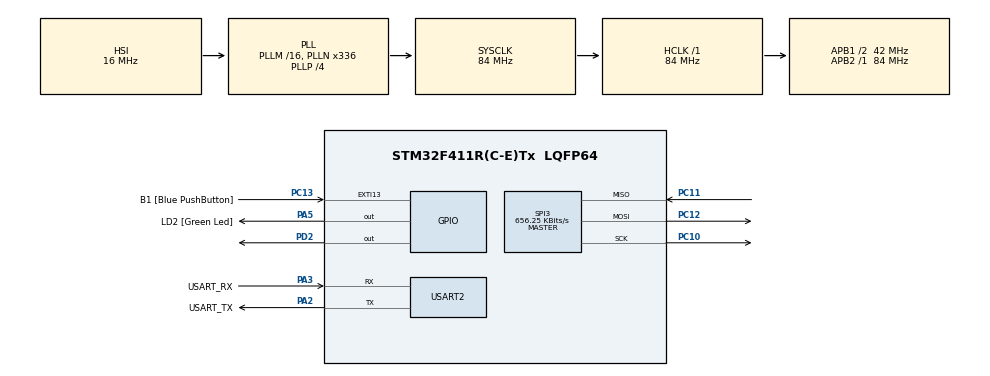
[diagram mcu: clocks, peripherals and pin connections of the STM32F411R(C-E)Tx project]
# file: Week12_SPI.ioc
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Mcu.Family=STM32F4
Mcu.Name=STM32F411R(C-E)Tx
Mcu.Package=LQFP64
NVIC.PriorityGroup=NVIC_PRIORITYGROUP_0
NVIC.SPI3_IRQn=true\:0\:0\:false\:false\:true\:true\:true\:true
PA13.GPIO_Label=TMS
PA13.Mode=Serial_Wire
PA13.Signal=SYS_JTMS-SWDIO
PA14.GPIO_Label=TCK
PA14.Mode=Serial_Wire
PA14.Signal=SYS_JTCK-SWCLK
PA2.GPIO_Label=USART_TX
PA2.Mode=Asynchronous
PA2.Signal=USART2_TX
PA3.GPIO_Label=USART_RX
PA3.Mode=Asynchronous
PA3.Signal=USART2_RX
PA5.GPIO_Label=LD2 [Green Led]
PA5.Signal=GPIO_Output
PB3.GPIO_Label=SWO
PB3.Signal=SYS_JTDO-SWO
PC10.Mode=Full_Duplex_Master
PC10.Signal=SPI3_SCK
PC11.Mode=Full_Duplex_Master
PC11.Signal=SPI3_MISO
PC12.Mode=Full_Duplex_Master
PC12.Signal=SPI3_MOSI
PC13-ANTI_TAMP.GPIO_Label=B1 [Blue PushButton]
PC13-ANTI_TAMP.GPIO_ModeDefaultEXTI=GPIO_MODE_IT_FALLING
PC13-ANTI_TAMP.Signal=GPXTI13
PC14-OSC32_IN.Mode=LSE-External-Oscillator
PC14-OSC32_IN.Signal=RCC_OSC32_IN
PC15-OSC32_OUT.Mode=LSE-External-Oscillator
PC15-OSC32_OUT.Signal=RCC_OSC32_OUT
PD2.PinState=GPIO_PIN_SET
PD2.Signal=GPIO_Output
PH0\ -\ OSC_IN.Mode=HSE-External-Clock-Source
PH0\ -\ OSC_IN.Signal=RCC_OSC_IN
PH1\ -\ OSC_OUT.Mode=HSE-External-Clock-Source
PH1\ -\ OSC_OUT.Signal=RCC_OSC_OUT
ProjectManager.HeapSize=0x200
ProjectManager.StackSize=0x400
ProjectManager.TargetToolchain=STM32CubeIDE
RCC.48MHZClocksFreq_Value=84000000
RCC.AHBFreq_Value=84000000
RCC.APB1CLKDivider=RCC_HCLK_DIV2
RCC.APB1Freq_Value=42000000
RCC.APB1TimFreq_Value=84000000
RCC.APB2Freq_Value=84000000
RCC.APB2TimFreq_Value=84000000
RCC.CortexFreq_Value=84000000
RCC.FLatency-AdvancedSettings=FLASH_LATENCY_2
RCC.HCLKFreq_Value=84000000
RCC.HSE_VALUE=8000000
RCC.HSI_VALUE=16000000
RCC.PLLN=336
RCC.PLLP=RCC_PLLP_DIV4
RCC.SYSCLKFreq_VALUE=84000000
RCC.SYSCLKSource=RCC_SYSCLKSOURCE_PLLCLK
RCC.VCOOutputFreq_Value=336000000
SPI3.BaudRatePrescaler=SPI_BAUDRATEPRESCALER_64
SPI3.CLKPhase=SPI_PHASE_2EDGE
SPI3.CLKPolarity=SPI_POLARITY_HIGH
SPI3.CalculateBaudRate=656.25 KBits/s
SPI3.Direction=SPI_DIRECTION_2LINES
SPI3.Mode=SPI_MODE_MASTER
SPI3.VirtualType=VM_MASTER
USART2.VirtualMode=VM_ASYNC
board=NUCLEO-F411RE

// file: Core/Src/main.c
/* USER CODE BEGIN Header */
/**
  ******************************************************************************
  * @file           : main.c
  * @brief          : Main program body
  ******************************************************************************
  * @attention
  *
  * Copyright (c) 2023 STMicroelectronics.
  * All rights reserved.
  *
  * This software is licensed under terms that can be found in the LICENSE file
  * in the root directory of this software component.
  * If no LICENSE file comes with this software, it is provided AS-IS.
  *
  ******************************************************************************
  */
/* USER CODE END Header */
#include "main.h"

SPI_HandleTypeDef hspi3;

UART_HandleTypeDef huart2;

/* USER CODE BEGIN PV */
uint8_t SPIRx[10];	//Recieve
uint8_t SPITx[10]; 	//Transmitte
/* USER CODE END PV */

void SystemClock_Config(void);
static void MX_GPIO_Init(void);
static void MX_USART2_UART_Init(void);
static void MX_SPI3_Init(void);
/* USER CODE BEGIN PFP */
void SPITxRx_Setup();
void SPITxRx_readIO(uint8_t addrs);
void SPITxRx_writeIO(uint8_t addrs, uint8_t data);
/* USER CODE END PFP */

int main(void)
{

  /* MCU Configuration--------------------------------------------------------*/

  /* Reset of all peripherals, Initializes the Flash interface and the Systick. */
  HAL_Init();

  /* Configure the system clock */
  SystemClock_Config();

  /* Initialize all configured peripherals */
  MX_GPIO_Init();
  MX_USART2_UART_Init();
  MX_SPI3_Init();
  /* USER CODE BEGIN 2 */
  SPITxRx_Setup();
  SPITxRx_writeIO(0x01, 0b00000000);
  SPITxRx_writeIO(0x15, 0b00000000);
  /* USER CODE END 2 */

  /* Infinite loop */
  while (1)
  {

    /* USER CODE BEGIN 3 */
	  //SPITxRx_readIO();

  }
  /* USER CODE END 3 */
}

void SystemClock_Config(void)
{
  RCC_OscInitTypeDef RCC_OscInitStruct = {0};
  RCC_ClkInitTypeDef RCC_ClkInitStruct = {0};

  /** Configure the main internal regulator output voltage
  */
  __HAL_RCC_PWR_CLK_ENABLE();
  __HAL_PWR_VOLTAGESCALING_CONFIG(PWR_REGULATOR_VOLTAGE_SCALE1);

  /** Initializes the RCC Oscillators according to the specified parameters
  * in the RCC_OscInitTypeDef structure.
  */
  RCC_OscInitStruct.OscillatorType = RCC_OSCILLATORTYPE_HSI;
  RCC_OscInitStruct.HSIState = RCC_HSI_ON;
  RCC_OscInitStruct.HSICalibrationValue = RCC_HSICALIBRATION_DEFAULT;
  RCC_OscInitStruct.PLL.PLLState = RCC_PLL_ON;
  RCC_OscInitStruct.PLL.PLLSource = RCC_PLLSOURCE_HSI;
  RCC_OscInitStruct.PLL.PLLM = 16;
  RCC_OscInitStruct.PLL.PLLN = 336;
  RCC_OscInitStruct.PLL.PLLP = RCC_PLLP_DIV4;
  RCC_OscInitStruct.PLL.PLLQ = 4;
  if (HAL_RCC_OscConfig(&RCC_OscInitStruct) != HAL_OK)
  {
    Error_Handler();
  }

  /** Initializes the CPU, AHB and APB buses clocks
  */
  RCC_ClkInitStruct.ClockType = RCC_CLOCKTYPE_HCLK|RCC_CLOCKTYPE_SYSCLK
                              |RCC_CLOCKTYPE_PCLK1|RCC_CLOCKTYPE_PCLK2;
  RCC_ClkInitStruct.SYSCLKSource = RCC_SYSCLKSOURCE_PLLCLK;
  RCC_ClkInitStruct.AHBCLKDivider = RCC_SYSCLK_DIV1;
  RCC_ClkInitStruct.APB1CLKDivider = RCC_HCLK_DIV2;
  RCC_ClkInitStruct.APB2CLKDivider = RCC_HCLK_DIV1;

  if (HAL_RCC_ClockConfig(&RCC_ClkInitStruct, FLASH_LATENCY_2) != HAL_OK)
  {
    Error_Handler();
  }
}

static void MX_SPI3_Init(void)
{

  /* SPI3 parameter configuration*/
  hspi3.Instance = SPI3;
  hspi3.Init.Mode = SPI_MODE_MASTER;
  hspi3.Init.Direction = SPI_DIRECTION_2LINES;
  hspi3.Init.DataSize = SPI_DATASIZE_8BIT;
  hspi3.Init.CLKPolarity = SPI_POLARITY_HIGH;
  hspi3.Init.CLKPhase = SPI_PHASE_2EDGE;
  hspi3.Init.NSS = SPI_NSS_SOFT;
  hspi3.Init.BaudRatePrescaler = SPI_BAUDRATEPRESCALER_64;
  hspi3.Init.FirstBit = SPI_FIRSTBIT_MSB;
  hspi3.Init.TIMode = SPI_TIMODE_DISABLE;
  hspi3.Init.CRCCalculation = SPI_CRCCALCULATION_DISABLE;
  hspi3.Init.CRCPolynomial = 10;
  if (HAL_SPI_Init(&hspi3) != HAL_OK)
  {
    Error_Handler();
  }

}

static void MX_USART2_UART_Init(void)
{

  huart2.Instance = USART2;
  huart2.Init.BaudRate = 115200;
  huart2.Init.WordLength = UART_WORDLENGTH_8B;
  huart2.Init.StopBits = UART_STOPBITS_1;
  huart2.Init.Parity = UART_PARITY_NONE;
  huart2.Init.Mode = UART_MODE_TX_RX;
  huart2.Init.HwFlowCtl = UART_HWCONTROL_NONE;
  huart2.Init.OverSampling = UART_OVERSAMPLING_16;
  if (HAL_UART_Init(&huart2) != HAL_OK)
  {
    Error_Handler();
  }

}

static void MX_GPIO_Init(void)
{
  GPIO_InitTypeDef GPIO_InitStruct = {0};

  /* GPIO Ports Clock Enable */
  __HAL_RCC_GPIOC_CLK_ENABLE();
  __HAL_RCC_GPIOH_CLK_ENABLE();
  __HAL_RCC_GPIOA_CLK_ENABLE();
  __HAL_RCC_GPIOD_CLK_ENABLE();
  __HAL_RCC_GPIOB_CLK_ENABLE();

  /*Configure GPIO pin Output Level */
  HAL_GPIO_WritePin(LD2_GPIO_Port, LD2_Pin, GPIO_PIN_RESET);

  /*Configure GPIO pin Output Level */
  HAL_GPIO_WritePin(GPIOD, GPIO_PIN_2, GPIO_PIN_SET);

  /*Configure GPIO pin : B1_Pin */
  GPIO_InitStruct.Pin = B1_Pin;
  GPIO_InitStruct.Mode = GPIO_MODE_IT_FALLING;
  GPIO_InitStruct.Pull = GPIO_NOPULL;
  HAL_GPIO_Init(B1_GPIO_Port, &GPIO_InitStruct);

  /*Configure GPIO pin : LD2_Pin */
  GPIO_InitStruct.Pin = LD2_Pin;
  GPIO_InitStruct.Mode = GPIO_MODE_OUTPUT_PP;
  GPIO_InitStruct.Pull = GPIO_NOPULL;
  GPIO_InitStruct.Speed = GPIO_SPEED_FREQ_LOW;
  HAL_GPIO_Init(LD2_GPIO_Port, &GPIO_InitStruct);

  /*Configure GPIO pin : PD2 */
  GPIO_InitStruct.Pin = GPIO_PIN_2;
  GPIO_InitStruct.Mode = GPIO_MODE_OUTPUT_PP;
  GPIO_InitStruct.Pull = GPIO_NOPULL;
  GPIO_InitStruct.Speed = GPIO_SPEED_FREQ_LOW;
  HAL_GPIO_Init(GPIOD, &GPIO_InitStruct);

}

/* USER CODE BEGIN 4 */
void SPITxRx_Setup()
{
	//CS pulse
	HAL_GPIO_WritePin(GPIOD, GPIO_PIN_2, 0);	//CS Select
	HAL_Delay(1);
	HAL_GPIO_WritePin(GPIOD, GPIO_PIN_2, 1);	//CS Unselect
	HAL_Delay(1);
}
void SPITxRx_readIO(uint8_t addrs)
{
	if(HAL_GPIO_ReadPin(GPIOD, GPIO_PIN_2))
	{
		HAL_GPIO_WritePin(GPIOD, GPIO_PIN_2, 0);	//CS Select
		SPITx[0] = 0b01000001;	//Read mode
		SPITx[1] = addrs;		//Address to read
		SPITx[2] = 0;			//Dummy clock
		HAL_SPI_TransmitReceive_IT(&hspi3, SPITx, SPIRx, 4);
	}
}
void SPITxRx_writeIO(uint8_t addrs, uint8_t data)
{
	if(HAL_GPIO_ReadPin(GPIOD, GPIO_PIN_2))
	{
		HAL_GPIO_WritePin(GPIOD, GPIO_PIN_2, 0);	//CS Select
		SPITx[0] = 0b01000000;	//Write mode
		SPITx[1] = addrs;		//Address to write
		SPITx[2] = data;		//Data for writting
		HAL_SPI_TransmitReceive_IT(&hspi3, SPITx, SPIRx, 3);

	}
}

void HAL_SPI_TxRxCpltCallback(SPI_HandleTypeDef *hspi)
{
	HAL_GPIO_WritePin(GPIOD, GPIO_PIN_2, 1);	//CS Unselect
}

/* USER CODE END 4 */

void Error_Handler(void)
{
  __disable_irq();
  while (1)
  {
  }
}
